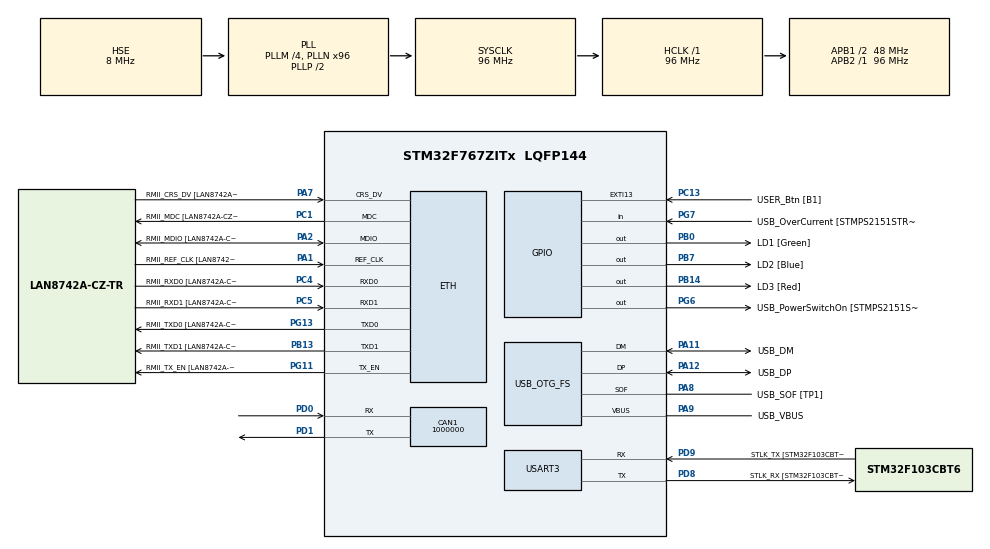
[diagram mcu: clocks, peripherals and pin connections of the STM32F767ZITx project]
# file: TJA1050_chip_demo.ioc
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CAN1.CalculateBaudRate=1000000
CAN1.CalculateTimeQuantum=333.3333333333333
ETH.MediaInterface=HAL_ETH_RMII_MODE
ETH.PHY_Name=LAN8742A_PHY_ADDRESS
ETH.PHY_Value=0
ETH.PhyAddress=0
FREERTOS.Tasks01=defaultTask,24,128,StartDefaultTask,Default,NULL,Dynamic,NULL,NULL
Mcu.Family=STM32F7
Mcu.Name=STM32F767ZITx
Mcu.Package=LQFP144
NVIC.PriorityGroup=NVIC_PRIORITYGROUP_4
PA1.GPIO_Label=RMII_REF_CLK [LAN8742A-CZ-TR_REFCLK0]
PA1.Mode=RMII
PA1.Signal=ETH_REF_CLK
PA10.GPIO_Label=USB_ID
PA10.Signal=USB_OTG_FS_ID
PA11.GPIO_Label=USB_DM
PA11.Mode=Device_Only
PA11.Signal=USB_OTG_FS_DM
PA12.GPIO_Label=USB_DP
PA12.Mode=Device_Only
PA12.Signal=USB_OTG_FS_DP
PA13.GPIO_Label=TMS
PA13.Mode=Serial_Wire
PA13.Signal=SYS_JTMS-SWDIO
PA14.GPIO_Label=TCK
PA14.Mode=Serial_Wire
PA14.Signal=SYS_JTCK-SWCLK
PA2.GPIO_Label=RMII_MDIO [LAN8742A-CZ-TR_MDIO]
PA2.Mode=RMII
PA2.Signal=ETH_MDIO
PA7.GPIO_Label=RMII_CRS_DV [LAN8742A-CZ-TR_CRS_DV]
PA7.Mode=RMII
PA7.Signal=ETH_CRS_DV
PA8.GPIO_Label=USB_SOF [TP1]
PA8.Mode=Activate_SOF_FS
PA8.Signal=USB_OTG_FS_SOF
PA9.GPIO_Label=USB_VBUS
PA9.Mode=Activate_VBUS
PA9.Signal=USB_OTG_FS_VBUS
PB0.GPIO_Label=LD1 [Green]
PB0.Signal=GPIO_Output
PB13.GPIO_Label=RMII_TXD1 [LAN8742A-CZ-TR_TXD1]
PB13.Mode=RMII
PB13.Signal=ETH_TXD1
PB14.GPIO_Label=LD3 [Red]
PB14.Signal=GPIO_Output
PB3.GPIO_Label=SWO
PB3.Signal=SYS_JTDO-SWO
PB7.GPIO_Label=LD2 [Blue]
PB7.Signal=GPIO_Output
PC1.GPIO_Label=RMII_MDC [LAN8742A-CZ-TR_MDC]
PC1.Mode=RMII
PC1.Signal=ETH_MDC
PC13.GPIO_Label=USER_Btn [B1]
PC13.Signal=GPXTI13
PC14/OSC32_IN.Mode=LSE-External-Oscillator
PC14/OSC32_IN.Signal=RCC_OSC32_IN
PC15/OSC32_OUT.Mode=LSE-External-Oscillator
PC15/OSC32_OUT.Signal=RCC_OSC32_OUT
PC4.GPIO_Label=RMII_RXD0 [LAN8742A-CZ-TR_RXD0]
PC4.Mode=RMII
PC4.Signal=ETH_RXD0
PC5.GPIO_Label=RMII_RXD1 [LAN8742A-CZ-TR_RXD1]
PC5.Mode=RMII
PC5.Signal=ETH_RXD1
PD0.Mode=CAN_Activate
PD0.Signal=CAN1_RX
PD1.Mode=CAN_Activate
PD1.Signal=CAN1_TX
PD8.GPIO_Label=STLK_RX [STM32F103CBT6_PA3]
PD8.Mode=Asynchronous
PD8.Signal=USART3_TX
PD9.GPIO_Label=STLK_TX [STM32F103CBT6_PA2]
PD9.Mode=Asynchronous
PD9.Signal=USART3_RX
PG11.GPIO_Label=RMII_TX_EN [LAN8742A-CZ-TR_TXEN]
PG11.Mode=RMII
PG11.Signal=ETH_TX_EN
PG13.GPIO_Label=RMII_TXD0 [LAN8742A-CZ-TR_TXD0]
PG13.Mode=RMII
PG13.Signal=ETH_TXD0
PG6.GPIO_Label=USB_PowerSwitchOn [STMPS2151STR_EN]
PG6.Signal=GPIO_Output
PG7.GPIO_Label=USB_OverCurrent [STMPS2151STR_FAULT]
PG7.Signal=GPIO_Input
PH0/OSC_IN.GPIO_Label=MCO [STM32F103CBT6_PA8]
PH0/OSC_IN.Mode=HSE-External-Clock-Source
PH0/OSC_IN.Signal=RCC_OSC_IN
PH1/OSC_OUT.Mode=HSE-External-Clock-Source
PH1/OSC_OUT.Signal=RCC_OSC_OUT
ProjectManager.HeapSize=0x200
ProjectManager.StackSize=0x400
ProjectManager.TargetToolchain=STM32CubeIDE
RCC.48MHZClocksFreq_Value=24000000
RCC.AHBFreq_Value=96000000
RCC.APB1CLKDivider=RCC_HCLK_DIV2
RCC.APB1Freq_Value=48000000
RCC.APB1TimFreq_Value=96000000
RCC.APB2Freq_Value=96000000
RCC.APB2TimFreq_Value=96000000
RCC.CortexFreq_Value=96000000
RCC.HCLKFreq_Value=96000000
RCC.HSE_VALUE=8000000
RCC.HSI_VALUE=16000000
RCC.PLLM=4
RCC.PLLMUL=RCC_PLL_MUL9
RCC.PLLN=96
RCC.PLLQ=4
RCC.PRESCALERUSB=RCC_USBCLKSOURCE_PLL_DIV1_5
RCC.SYSCLKFreq_VALUE=96000000
RCC.SYSCLKSource=RCC_SYSCLKSOURCE_PLLCLK
RCC.SYSCLKSourceVirtual=RCC_SYSCLKSOURCE_PLLCLK
RCC.USBFreq_Value=48000000
RCC.VCOOutputFreq_Value=192000000
USART3.VirtualMode-Asynchronous=VM_ASYNC
USB_OTG_FS.VirtualMode=Device_Only
VP_FREERTOS_VS_CMSIS_V2.Mode=CMSIS_V2
board=NUCLEO-F767ZI

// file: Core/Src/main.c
/* USER CODE BEGIN Header */
/**
  ******************************************************************************
  * @file           : main.c
  * @brief          : Main program body
  ******************************************************************************
  * @attention
  *
  * Copyright (c) 2023 STMicroelectronics.
  * All rights reserved.
  *
  * This software is licensed under terms that can be found in the LICENSE file
  * in the root directory of this software component.
  * If no LICENSE file comes with this software, it is provided AS-IS.
  *
  ******************************************************************************
  */
/* USER CODE END Header */
#include "main.h"
#include "string.h"
#include "cmsis_os.h"

/* USER CODE BEGIN Includes */
#include "SEGGER_SYSVIEW.h"
/* USER CODE END Includes */

#if defined ( __ICCARM__ ) /*!< IAR Compiler */
#pragma location=0x2007c000
ETH_DMADescTypeDef  DMARxDscrTab[ETH_RX_DESC_CNT]; /* Ethernet Rx DMA Descriptors */
#pragma location=0x2007c0a0
ETH_DMADescTypeDef  DMATxDscrTab[ETH_TX_DESC_CNT]; /* Ethernet Tx DMA Descriptors */

#elif defined ( __CC_ARM )  /* MDK ARM Compiler */

__attribute__((at(0x2007c000))) ETH_DMADescTypeDef  DMARxDscrTab[ETH_RX_DESC_CNT]; /* Ethernet Rx DMA Descriptors */
__attribute__((at(0x2007c0a0))) ETH_DMADescTypeDef  DMATxDscrTab[ETH_TX_DESC_CNT]; /* Ethernet Tx DMA Descriptors */

#elif defined ( __GNUC__ ) /* GNU Compiler */
ETH_DMADescTypeDef DMARxDscrTab[ETH_RX_DESC_CNT] __attribute__((section(".RxDecripSection"))); /* Ethernet Rx DMA Descriptors */
ETH_DMADescTypeDef DMATxDscrTab[ETH_TX_DESC_CNT] __attribute__((section(".TxDecripSection")));   /* Ethernet Tx DMA Descriptors */

#endif

ETH_TxPacketConfig TxConfig;

CAN_HandleTypeDef hcan1;

ETH_HandleTypeDef heth;

UART_HandleTypeDef huart3;

PCD_HandleTypeDef hpcd_USB_OTG_FS;

/* Definitions for defaultTask */
osThreadId_t defaultTaskHandle;
const osThreadAttr_t defaultTask_attributes = {
  .name = "defaultTask",
  .stack_size = 128 * 4,
  .priority = (osPriority_t) osPriorityNormal,
};

void SystemClock_Config(void);
static void MX_GPIO_Init(void);
static void MX_ETH_Init(void);
static void MX_USART3_UART_Init(void);
static void MX_USB_OTG_FS_PCD_Init(void);
static void MX_CAN1_Init(void);
void StartDefaultTask(void *argument);

int main(void)
{

  /* MCU Configuration--------------------------------------------------------*/

  /* Reset of all peripherals, Initializes the Flash interface and the Systick. */
  HAL_Init();

  /* USER CODE BEGIN Init */
  SEGGER_SYSVIEW_Conf();
  /* USER CODE END Init */

  /* Configure the system clock */
  SystemClock_Config();

  /* Initialize all configured peripherals */
  MX_GPIO_Init();
  MX_ETH_Init();
  MX_USART3_UART_Init();
  MX_USB_OTG_FS_PCD_Init();
  MX_CAN1_Init();

  /* Init scheduler */
  osKernelInitialize();

  /* Create the thread(s) */
  /* creation of defaultTask */
  defaultTaskHandle = osThreadNew(StartDefaultTask, NULL, &defaultTask_attributes);

  /* Start scheduler */
  osKernelStart();

  /* We should never get here as control is now taken by the scheduler */
  /* Infinite loop */
  while (1)
  {

  }
}

void SystemClock_Config(void)
{
  RCC_OscInitTypeDef RCC_OscInitStruct = {0};
  RCC_ClkInitTypeDef RCC_ClkInitStruct = {0};

  /** Configure LSE Drive Capability
  */
  HAL_PWR_EnableBkUpAccess();

  /** Configure the main internal regulator output voltage
  */
  __HAL_RCC_PWR_CLK_ENABLE();
  __HAL_PWR_VOLTAGESCALING_CONFIG(PWR_REGULATOR_VOLTAGE_SCALE3);

  /** Initializes the RCC Oscillators according to the specified parameters
  * in the RCC_OscInitTypeDef structure.
  */
  RCC_OscInitStruct.OscillatorType = RCC_OSCILLATORTYPE_HSE;
  RCC_OscInitStruct.HSEState = RCC_HSE_BYPASS;
  RCC_OscInitStruct.PLL.PLLState = RCC_PLL_ON;
  RCC_OscInitStruct.PLL.PLLSource = RCC_PLLSOURCE_HSE;
  RCC_OscInitStruct.PLL.PLLM = 4;
  RCC_OscInitStruct.PLL.PLLN = 96;
  RCC_OscInitStruct.PLL.PLLP = RCC_PLLP_DIV2;
  RCC_OscInitStruct.PLL.PLLQ = 4;
  RCC_OscInitStruct.PLL.PLLR = 2;
  if (HAL_RCC_OscConfig(&RCC_OscInitStruct) != HAL_OK)
  {
    Error_Handler();
  }

  /** Activate the Over-Drive mode
  */
  if (HAL_PWREx_EnableOverDrive() != HAL_OK)
  {
    Error_Handler();
  }

  /** Initializes the CPU, AHB and APB buses clocks
  */
  RCC_ClkInitStruct.ClockType = RCC_CLOCKTYPE_HCLK|RCC_CLOCKTYPE_SYSCLK
                              |RCC_CLOCKTYPE_PCLK1|RCC_CLOCKTYPE_PCLK2;
  RCC_ClkInitStruct.SYSCLKSource = RCC_SYSCLKSOURCE_PLLCLK;
  RCC_ClkInitStruct.AHBCLKDivider = RCC_SYSCLK_DIV1;
  RCC_ClkInitStruct.APB1CLKDivider = RCC_HCLK_DIV2;
  RCC_ClkInitStruct.APB2CLKDivider = RCC_HCLK_DIV1;

  if (HAL_RCC_ClockConfig(&RCC_ClkInitStruct, FLASH_LATENCY_3) != HAL_OK)
  {
    Error_Handler();
  }
}

static void MX_CAN1_Init(void)
{

  hcan1.Instance = CAN1;
  hcan1.Init.Prescaler = 16;
  hcan1.Init.Mode = CAN_MODE_NORMAL;
  hcan1.Init.SyncJumpWidth = CAN_SJW_1TQ;
  hcan1.Init.TimeSeg1 = CAN_BS1_1TQ;
  hcan1.Init.TimeSeg2 = CAN_BS2_1TQ;
  hcan1.Init.TimeTriggeredMode = DISABLE;
  hcan1.Init.AutoBusOff = DISABLE;
  hcan1.Init.AutoWakeUp = DISABLE;
  hcan1.Init.AutoRetransmission = DISABLE;
  hcan1.Init.ReceiveFifoLocked = DISABLE;
  hcan1.Init.TransmitFifoPriority = DISABLE;
  if (HAL_CAN_Init(&hcan1) != HAL_OK)
  {
    Error_Handler();
  }

}

static void MX_ETH_Init(void)
{

   static uint8_t MACAddr[6];

  heth.Instance = ETH;
  MACAddr[0] = 0x00;
  MACAddr[1] = 0x80;
  MACAddr[2] = 0xE1;
  MACAddr[3] = 0x00;
  MACAddr[4] = 0x00;
  MACAddr[5] = 0x00;
  heth.Init.MACAddr = &MACAddr[0];
  heth.Init.MediaInterface = HAL_ETH_RMII_MODE;
  heth.Init.TxDesc = DMATxDscrTab;
  heth.Init.RxDesc = DMARxDscrTab;
  heth.Init.RxBuffLen = 1524;

  if (HAL_ETH_Init(&heth) != HAL_OK)
  {
    Error_Handler();
  }

  memset(&TxConfig, 0 , sizeof(ETH_TxPacketConfig));
  TxConfig.Attributes = ETH_TX_PACKETS_FEATURES_CSUM | ETH_TX_PACKETS_FEATURES_CRCPAD;
  TxConfig.ChecksumCtrl = ETH_CHECKSUM_IPHDR_PAYLOAD_INSERT_PHDR_CALC;
  TxConfig.CRCPadCtrl = ETH_CRC_PAD_INSERT;

}

static void MX_USART3_UART_Init(void)
{

  huart3.Instance = USART3;
  huart3.Init.BaudRate = 115200;
  huart3.Init.WordLength = UART_WORDLENGTH_8B;
  huart3.Init.StopBits = UART_STOPBITS_1;
  huart3.Init.Parity = UART_PARITY_NONE;
  huart3.Init.Mode = UART_MODE_TX_RX;
  huart3.Init.HwFlowCtl = UART_HWCONTROL_NONE;
  huart3.Init.OverSampling = UART_OVERSAMPLING_16;
  huart3.Init.OneBitSampling = UART_ONE_BIT_SAMPLE_DISABLE;
  huart3.AdvancedInit.AdvFeatureInit = UART_ADVFEATURE_NO_INIT;
  if (HAL_UART_Init(&huart3) != HAL_OK)
  {
    Error_Handler();
  }

}

static void MX_USB_OTG_FS_PCD_Init(void)
{

  hpcd_USB_OTG_FS.Instance = USB_OTG_FS;
  hpcd_USB_OTG_FS.Init.dev_endpoints = 6;
  hpcd_USB_OTG_FS.Init.speed = PCD_SPEED_FULL;
  hpcd_USB_OTG_FS.Init.dma_enable = DISABLE;
  hpcd_USB_OTG_FS.Init.phy_itface = PCD_PHY_EMBEDDED;
  hpcd_USB_OTG_FS.Init.Sof_enable = ENABLE;
  hpcd_USB_OTG_FS.Init.low_power_enable = DISABLE;
  hpcd_USB_OTG_FS.Init.lpm_enable = DISABLE;
  hpcd_USB_OTG_FS.Init.vbus_sensing_enable = ENABLE;
  hpcd_USB_OTG_FS.Init.use_dedicated_ep1 = DISABLE;
  if (HAL_PCD_Init(&hpcd_USB_OTG_FS) != HAL_OK)
  {
    Error_Handler();
  }

}

static void MX_GPIO_Init(void)
{
  GPIO_InitTypeDef GPIO_InitStruct = {0};

  /* GPIO Ports Clock Enable */
  __HAL_RCC_GPIOC_CLK_ENABLE();
  __HAL_RCC_GPIOH_CLK_ENABLE();
  __HAL_RCC_GPIOA_CLK_ENABLE();
  __HAL_RCC_GPIOB_CLK_ENABLE();
  __HAL_RCC_GPIOD_CLK_ENABLE();
  __HAL_RCC_GPIOG_CLK_ENABLE();

  /*Configure GPIO pin Output Level */
  HAL_GPIO_WritePin(GPIOB, LD1_Pin|LD3_Pin|LD2_Pin, GPIO_PIN_RESET);

  /*Configure GPIO pin Output Level */
  HAL_GPIO_WritePin(USB_PowerSwitchOn_GPIO_Port, USB_PowerSwitchOn_Pin, GPIO_PIN_RESET);

  /*Configure GPIO pin : USER_Btn_Pin */
  GPIO_InitStruct.Pin = USER_Btn_Pin;
  GPIO_InitStruct.Mode = GPIO_MODE_IT_RISING;
  GPIO_InitStruct.Pull = GPIO_NOPULL;
  HAL_GPIO_Init(USER_Btn_GPIO_Port, &GPIO_InitStruct);

  /*Configure GPIO pins : LD1_Pin LD3_Pin LD2_Pin */
  GPIO_InitStruct.Pin = LD1_Pin|LD3_Pin|LD2_Pin;
  GPIO_InitStruct.Mode = GPIO_MODE_OUTPUT_PP;
  GPIO_InitStruct.Pull = GPIO_NOPULL;
  GPIO_InitStruct.Speed = GPIO_SPEED_FREQ_LOW;
  HAL_GPIO_Init(GPIOB, &GPIO_InitStruct);

  /*Configure GPIO pin : USB_PowerSwitchOn_Pin */
  GPIO_InitStruct.Pin = USB_PowerSwitchOn_Pin;
  GPIO_InitStruct.Mode = GPIO_MODE_OUTPUT_PP;
  GPIO_InitStruct.Pull = GPIO_NOPULL;
  GPIO_InitStruct.Speed = GPIO_SPEED_FREQ_LOW;
  HAL_GPIO_Init(USB_PowerSwitchOn_GPIO_Port, &GPIO_InitStruct);

  /*Configure GPIO pin : USB_OverCurrent_Pin */
  GPIO_InitStruct.Pin = USB_OverCurrent_Pin;
  GPIO_InitStruct.Mode = GPIO_MODE_INPUT;
  GPIO_InitStruct.Pull = GPIO_NOPULL;
  HAL_GPIO_Init(USB_OverCurrent_GPIO_Port, &GPIO_InitStruct);

}

void StartDefaultTask(void *argument)
{
  /* USER CODE BEGIN 5 */
	CAN_RxHeaderTypeDef rxHeader; //CAN Bus Transmit Header
	CAN_TxHeaderTypeDef txHeader; //CAN Bus Receive Header
	uint8_t canRX[8] = {0,0,0,0,0,0,0,0};  //CAN Bus Receive Buffer
	CAN_FilterTypeDef canfil; //CAN Bus Filter
	uint32_t canMailbox; //CAN Bus Mail box variable

	txHeader.DLC = 8; // Number of bites to be transmitted max- 8
	txHeader.IDE = CAN_ID_STD;
	txHeader.RTR = CAN_RTR_DATA;
	txHeader.StdId = 0x030;
	txHeader.ExtId = 0x02;
	txHeader.TransmitGlobalTime = DISABLE;
  /* Infinite loop */
  for(;;)
  {
    osDelay(1);
    SEGGER_SYSVIEW_PrintfHost("roll");
    uint8_t csend[] = {0x01,0x02,0x03,0x04,0x05,0x06,0x07,0x08}; // Tx Buffer
    if (HAL_CAN_AddTxMessage(&hcan1,&txHeader,csend,&canMailbox) != HAL_OK){
        SEGGER_SYSVIEW_PrintfHost("fail");
    }
    else{
        SEGGER_SYSVIEW_PrintfHost("fail");
    }

  }
  /* USER CODE END 5 */
}

void Error_Handler(void)
{
  __disable_irq();
  while (1)
  {
  }
}
